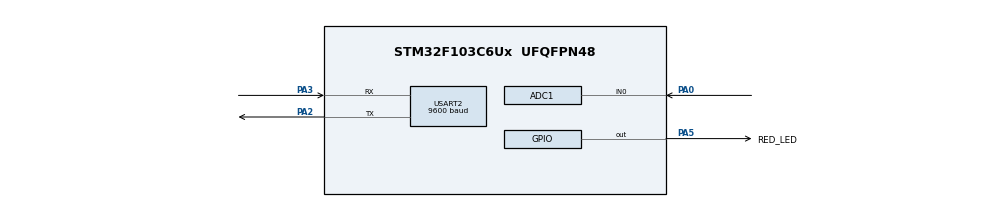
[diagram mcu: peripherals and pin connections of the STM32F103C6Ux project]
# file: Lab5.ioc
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ADC1.Channel-0\#ChannelRegularConversion=ADC_CHANNEL_0
ADC1.ContinuousConvMode=ENABLE
ADC1.NbrOfConversionFlag=1
ADC1.Rank-0\#ChannelRegularConversion=1
ADC1.SamplingTime-0\#ChannelRegularConversion=ADC_SAMPLETIME_1CYCLE_5
ADC1.master=1
Mcu.Family=STM32F1
Mcu.Name=STM32F103C6Ux
Mcu.Package=UFQFPN48
NVIC.PriorityGroup=NVIC_PRIORITYGROUP_4
NVIC.TIM2_IRQn=true\:0\:0\:false\:false\:true\:true\:true
NVIC.USART2_IRQn=true\:0\:0\:false\:false\:true\:true\:true
PA0-WKUP.Signal=ADCx_IN0
PA2.Mode=Asynchronous
PA2.Signal=USART2_TX
PA3.Mode=Asynchronous
PA3.Signal=USART2_RX
PA5.GPIO_Label=RED_LED
PA5.Signal=GPIO_Output
ProjectManager.HeapSize=0x200
ProjectManager.StackSize=0x400
ProjectManager.TargetToolchain=STM32CubeIDE
RCC.APB1Freq_Value=8000000
RCC.APB2Freq_Value=8000000
SH.ADCx_IN0.0=ADC1_IN0,IN0
TIM2.Period=9
TIM2.Prescaler=7999
USART2.BaudRate=9600
USART2.VirtualMode=VM_ASYNC
VP_SYS_VS_ND.Mode=No_Debug
VP_TIM2_VS_ClockSourceINT.Mode=Internal
board=custom

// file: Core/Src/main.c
/* USER CODE BEGIN Header */
/**
  ******************************************************************************
  * @file           : main.c
  * @brief          : Main program body
  ******************************************************************************
  * @attention
  *
  * <h2><center>&copy; Copyright (c) 2025 STMicroelectronics.
  * All rights reserved.</center></h2>
  *
  * This software component is licensed by ST under BSD 3-Clause license,
  * the "License"; You may not use this file except in compliance with the
  * License. You may obtain a copy of the License at:
  *                        opensource.org/licenses/BSD-3-Clause
  *
  ******************************************************************************
  */
/* USER CODE END Header */
#include "main.h"

/* USER CODE BEGIN Includes */
#include "global.h"
#include "scheduler.h"
#include "command_parser_fsm.h"
#include "uart_communiation_fsm.h"

/* USER CODE END Includes */

ADC_HandleTypeDef hadc1;

TIM_HandleTypeDef htim2;

UART_HandleTypeDef huart2;

void SystemClock_Config(void);
static void MX_GPIO_Init(void);
static void MX_ADC1_Init(void);
static void MX_TIM2_Init(void);
static void MX_USART2_UART_Init(void);
/* USER CODE BEGIN PFP */
void toggle();
/* USER CODE END PFP */

int main(void)
{
  /* USER CODE BEGIN 1 */
	SCH_Init();
  /* USER CODE END 1 */

  /* MCU Configuration--------------------------------------------------------*/

  /* Reset of all peripherals, Initializes the Flash interface and the Systick. */
  HAL_Init();

  /* Configure the system clock */
  SystemClock_Config();

  /* Initialize all configured peripherals */
  MX_GPIO_Init();
  MX_ADC1_Init();
  MX_TIM2_Init();
  MX_USART2_UART_Init();
  /* USER CODE BEGIN 2 */
  HAL_TIM_Base_Start_IT(&htim2);
  HAL_UART_Receive_IT(&huart2, &temp, 1);

  HAL_ADC_Start(&hadc1);
  SCH_Add_Task(command_parser_fsm, 10, 10);
  SCH_Add_Task(uart_communication_fsm, 10, 10);
  SCH_Add_Task(toggle, 10, 500);
  /* USER CODE END 2 */

  /* Infinite loop */
  /* USER CODE BEGIN WHILE */
  while (1)
  {

	  SCH_Dispatch_Tasks();
    /* USER CODE END WHILE */

  }
}

void SystemClock_Config(void)
{
  RCC_OscInitTypeDef RCC_OscInitStruct = {0};
  RCC_ClkInitTypeDef RCC_ClkInitStruct = {0};
  RCC_PeriphCLKInitTypeDef PeriphClkInit = {0};

  /** Initializes the RCC Oscillators according to the specified parameters
  * in the RCC_OscInitTypeDef structure.
  */
  RCC_OscInitStruct.OscillatorType = RCC_OSCILLATORTYPE_HSI;
  RCC_OscInitStruct.HSIState = RCC_HSI_ON;
  RCC_OscInitStruct.HSICalibrationValue = RCC_HSICALIBRATION_DEFAULT;
  RCC_OscInitStruct.PLL.PLLState = RCC_PLL_NONE;
  if (HAL_RCC_OscConfig(&RCC_OscInitStruct) != HAL_OK)
  {
    Error_Handler();
  }
  /** Initializes the CPU, AHB and APB buses clocks
  */
  RCC_ClkInitStruct.ClockType = RCC_CLOCKTYPE_HCLK|RCC_CLOCKTYPE_SYSCLK
                              |RCC_CLOCKTYPE_PCLK1|RCC_CLOCKTYPE_PCLK2;
  RCC_ClkInitStruct.SYSCLKSource = RCC_SYSCLKSOURCE_HSI;
  RCC_ClkInitStruct.AHBCLKDivider = RCC_SYSCLK_DIV1;
  RCC_ClkInitStruct.APB1CLKDivider = RCC_HCLK_DIV1;
  RCC_ClkInitStruct.APB2CLKDivider = RCC_HCLK_DIV1;

  if (HAL_RCC_ClockConfig(&RCC_ClkInitStruct, FLASH_LATENCY_0) != HAL_OK)
  {
    Error_Handler();
  }
  PeriphClkInit.PeriphClockSelection = RCC_PERIPHCLK_ADC;
  PeriphClkInit.AdcClockSelection = RCC_ADCPCLK2_DIV2;
  if (HAL_RCCEx_PeriphCLKConfig(&PeriphClkInit) != HAL_OK)
  {
    Error_Handler();
  }
}

static void MX_ADC1_Init(void)
{

  ADC_ChannelConfTypeDef sConfig = {0};

  /** Common config
  */
  hadc1.Instance = ADC1;
  hadc1.Init.ScanConvMode = ADC_SCAN_DISABLE;
  hadc1.Init.ContinuousConvMode = ENABLE;
  hadc1.Init.DiscontinuousConvMode = DISABLE;
  hadc1.Init.ExternalTrigConv = ADC_SOFTWARE_START;
  hadc1.Init.DataAlign = ADC_DATAALIGN_RIGHT;
  hadc1.Init.NbrOfConversion = 1;
  if (HAL_ADC_Init(&hadc1) != HAL_OK)
  {
    Error_Handler();
  }
  /** Configure Regular Channel
  */
  sConfig.Channel = ADC_CHANNEL_0;
  sConfig.Rank = ADC_REGULAR_RANK_1;
  sConfig.SamplingTime = ADC_SAMPLETIME_1CYCLE_5;
  if (HAL_ADC_ConfigChannel(&hadc1, &sConfig) != HAL_OK)
  {
    Error_Handler();
  }

}

static void MX_TIM2_Init(void)
{

  TIM_ClockConfigTypeDef sClockSourceConfig = {0};
  TIM_MasterConfigTypeDef sMasterConfig = {0};

  htim2.Instance = TIM2;
  htim2.Init.Prescaler = 7999;
  htim2.Init.CounterMode = TIM_COUNTERMODE_UP;
  htim2.Init.Period = 9;
  htim2.Init.ClockDivision = TIM_CLOCKDIVISION_DIV1;
  htim2.Init.AutoReloadPreload = TIM_AUTORELOAD_PRELOAD_DISABLE;
  if (HAL_TIM_Base_Init(&htim2) != HAL_OK)
  {
    Error_Handler();
  }
  sClockSourceConfig.ClockSource = TIM_CLOCKSOURCE_INTERNAL;
  if (HAL_TIM_ConfigClockSource(&htim2, &sClockSourceConfig) != HAL_OK)
  {
    Error_Handler();
  }
  sMasterConfig.MasterOutputTrigger = TIM_TRGO_RESET;
  sMasterConfig.MasterSlaveMode = TIM_MASTERSLAVEMODE_DISABLE;
  if (HAL_TIMEx_MasterConfigSynchronization(&htim2, &sMasterConfig) != HAL_OK)
  {
    Error_Handler();
  }

}

static void MX_USART2_UART_Init(void)
{

  huart2.Instance = USART2;
  huart2.Init.BaudRate = 9600;
  huart2.Init.WordLength = UART_WORDLENGTH_8B;
  huart2.Init.StopBits = UART_STOPBITS_1;
  huart2.Init.Parity = UART_PARITY_NONE;
  huart2.Init.Mode = UART_MODE_TX_RX;
  huart2.Init.HwFlowCtl = UART_HWCONTROL_NONE;
  huart2.Init.OverSampling = UART_OVERSAMPLING_16;
  if (HAL_UART_Init(&huart2) != HAL_OK)
  {
    Error_Handler();
  }

}

static void MX_GPIO_Init(void)
{
  GPIO_InitTypeDef GPIO_InitStruct = {0};

  /* GPIO Ports Clock Enable */
  __HAL_RCC_GPIOA_CLK_ENABLE();

  /*Configure GPIO pin Output Level */
  HAL_GPIO_WritePin(RED_LED_GPIO_Port, RED_LED_Pin, GPIO_PIN_RESET);

  /*Configure GPIO pin : RED_LED_Pin */
  GPIO_InitStruct.Pin = RED_LED_Pin;
  GPIO_InitStruct.Mode = GPIO_MODE_OUTPUT_PP;
  GPIO_InitStruct.Pull = GPIO_NOPULL;
  GPIO_InitStruct.Speed = GPIO_SPEED_FREQ_LOW;
  HAL_GPIO_Init(RED_LED_GPIO_Port, &GPIO_InitStruct);

}

/* USER CODE BEGIN 4 */
void toggle(){
	HAL_GPIO_TogglePin(RED_LED_GPIO_Port, RED_LED_Pin);
}
void HAL_UART_RxCpltCallback(UART_HandleTypeDef *huart) {
  if (huart->Instance == USART2) {
    buffer[index_buffer++] = temp;
    if (index_buffer >= MAX_BUFFER_SIZE) index_buffer = 0;

    buffer_flag = 1;

    HAL_UART_Receive_IT(&huart2, &temp, 1);
  }
}
void HAL_TIM_PeriodElapsedCallback(TIM_HandleTypeDef *htim){
	SCH_Update();
}
/* USER CODE END 4 */

void Error_Handler(void)
{
  __disable_irq();
  while (1)
  {
  }
}

/************************ (C) COPYRIGHT STMicroelectronics *****END OF FILE****/
